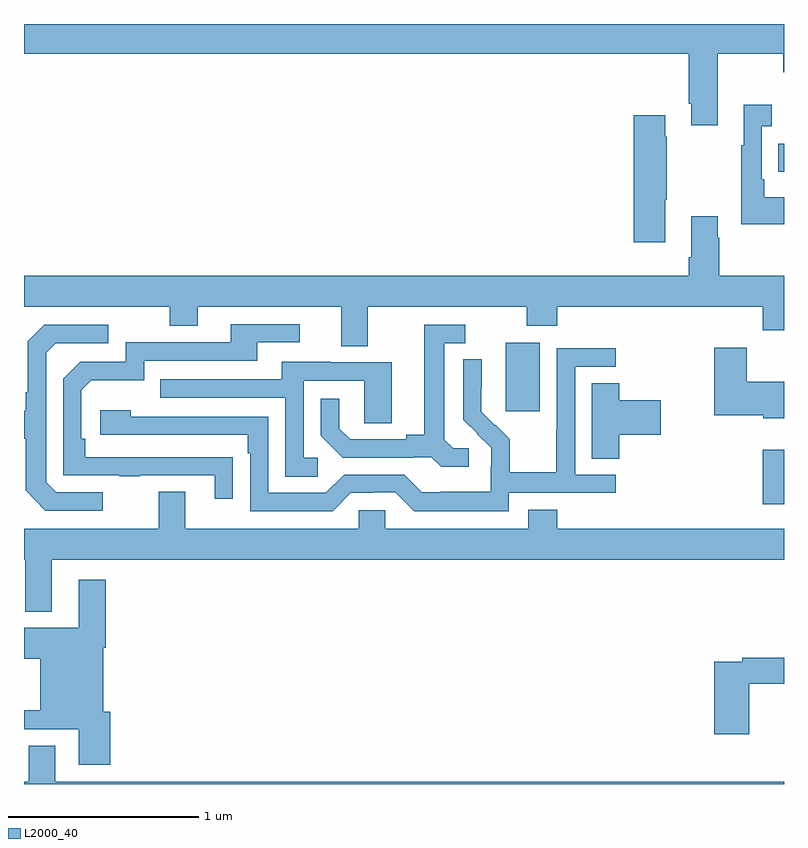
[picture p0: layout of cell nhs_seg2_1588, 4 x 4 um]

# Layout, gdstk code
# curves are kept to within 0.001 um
import gdstk
lib = gdstk.Library(unit=1e-6, precision=1e-09)
def R(c, l, rs):  # rectangles x0, y0, x1, y1
    for r in rs: c.add(gdstk.rectangle(r[:2], r[2:], *l))
def P(c, l, *ps):  # polygons
    for p in ps: c.add(gdstk.Polygon(p, *l))
L2000_40 = (2000, 40)

nhs_seg2_1588 = lib.new_cell('nhs_seg2_1588')
R(nhs_seg2_1588, L2000_40, [(196.889,637.272,197,637.558), (195.536,637.761,195.715,638.122), (196.969,639.023,197,639.171)])
P(nhs_seg2_1588, L2000_40, [(196.651,639.644),(196.996,639.644),(196.996,639.545),(197,639.545),(197,639.8),(193,639.8),(193,639.644),(196.499,639.644),(196.499,639.379),(196.511,639.379),(196.511,639.267),(196.651,639.267)],
  [(197,638.887),(196.897,638.887),(196.897,638.983),(196.884,638.983),(196.884,639.263),(196.936,639.263),(196.936,639.376),(196.787,639.376),(196.787,639.163),(196.776,639.163),(196.776,638.747),(197,638.747)],
  [(196.375,638.875),(196.383,638.875),(196.383,639.206),(196.375,639.206),(196.375,639.319),(196.208,639.319),(196.208,638.652),(196.375,638.652)],
  [(194.809,638.312),(195.646,638.312),(195.646,638.213),(195.806,638.213),(195.806,638.312),(196.889,638.312),(196.889,638.188),(197,638.188),(197,638.476),(196.659,638.476),(196.659,638.675),(196.651,638.675),(196.651,638.788),(196.511,638.788),(196.511,638.572),(196.499,638.572),(196.499,638.476),(193,638.476),(193,638.312),(193.768,638.312),(193.768,638.213),(193.915,638.213),(193.915,638.312),(194.669,638.312),(194.669,638.104),(194.809,638.104)],
  [(194.099,637.52),(193.322,637.521),(193.322,637.618),(193.302,637.618),(193.302,637.872),(193.355,637.925),(193.632,637.925),(193.632,638.028),(194.227,638.028),(194.227,638.124),(194.452,638.124),(194.452,638.22),(194.087,638.22),(194.087,638.124),(193.536,638.124),(193.536,638.022),(193.296,638.022),(193.206,637.932),(193.206,637.425),(193.501,637.425),(193.501,637.42),(193.613,637.42),(193.613,637.425),(194.003,637.425),(194.003,637.302),(194.099,637.302)],
  [(195.34,637.566),(195.258,637.566),(195.211,637.613),(195.211,638.121),(195.322,638.121),(195.322,638.217),(195.107,638.217),(195.107,637.637),(195.011,637.637),(195.011,637.614),(194.716,637.614),(194.659,637.671),(194.659,637.828),(194.562,637.828),(194.562,637.634),(194.678,637.518),(195.05,637.518),(195.05,637.521),(195.144,637.521),(195.196,637.469),(195.34,637.469)],
  [(193.414,637.335),(193.17,637.335),(193.116,637.389),(193.116,638.07),(193.167,638.121),(193.444,638.121),(193.444,638.217),(193.107,638.217),(193.02,638.13),(193.02,637.861),(193.008,637.861),(193.008,637.765),(193,637.765),(193,637.618),(193.008,637.618),(193.008,637.345),(193.113,637.239),(193.414,637.239)],
  [(197,637.918),(196.804,637.918),(196.804,638.095),(196.634,638.095),(196.634,637.742),(196.89,637.742),(196.89,637.724),(197,637.724)],
  [(195.552,637.332),(196.114,637.332),(196.114,637.428),(195.9,637.428),(195.9,637.995),(196.114,637.995),(196.114,638.094),(195.804,638.094),(195.804,637.664),(195.802,637.664),(195.802,637.441),(195.557,637.441),(195.557,637.615),(195.48,637.692),(195.477,637.689),(195.407,637.76),(195.408,638.036),(195.312,638.036),(195.312,637.718),(195.458,637.57),(195.458,637.473),(195.456,637.473),(195.456,637.339),(195.193,637.339),(195.193,637.335),(195.093,637.335),(195,637.428),(194.685,637.428),(194.589,637.332),(194.286,637.332),(194.286,637.734),(193.562,637.734),(193.562,637.768),(193.401,637.768),(193.401,637.638),(194.177,637.638),(194.177,637.541),(194.19,637.541),(194.19,637.236),(194.625,637.236),(194.721,637.332),(194.84,637.332),(194.84,637.335),(194.955,637.335),(195.055,637.235),(195.552,637.235)],
  [(194.545,637.518),(194.472,637.518),(194.472,637.923),(194.79,637.923),(194.79,637.699),(194.935,637.699),(194.935,638.019),(194.611,638.019),(194.611,638.023),(194.357,638.023),(194.357,637.929),(193.717,637.929),(193.717,637.833),(194.376,637.833),(194.376,637.417),(194.545,637.417)],
  [(196.133,637.637),(196.351,637.637),(196.351,637.82),(196.133,637.82),(196.133,637.91),(195.989,637.91),(195.989,637.513),(196.133,637.513)],
  [(193.147,636.98),(197,636.98),(197,637.144),(195.806,637.144),(195.806,637.243),(195.653,637.243),(195.653,637.144),(194.901,637.144),(194.901,637.242),(194.763,637.242),(194.763,637.144),(193.849,637.144),(193.849,637.339),(193.709,637.339),(193.709,637.144),(193,637.144),(193,636.98),(193.007,636.98),(193.007,636.707),(193.147,636.707)],
  [(193.454,636.18),(193.417,636.18),(193.417,636.518),(193.43,636.518),(193.43,636.874),(193.289,636.874),(193.289,636.622),(193,636.622),(193,636.458),(193.085,636.458),(193.085,636.188),(193,636.188),(193,636.087),(193.289,636.087),(193.289,635.901),(193.454,635.901)],
  [(196.817,636.328),(197,636.328),(197,636.464),(196.78,636.464),(196.78,636.444),(196.634,636.444),(196.634,636.063),(196.817,636.063)],
  [(197,635.812),(193.165,635.812),(193.165,636.002),(193.025,636.002),(193.025,635.812),(193,635.812),(193,635.8),(197,635.8)])

lib.write_gds('nhs_seg2_1588.gds')
